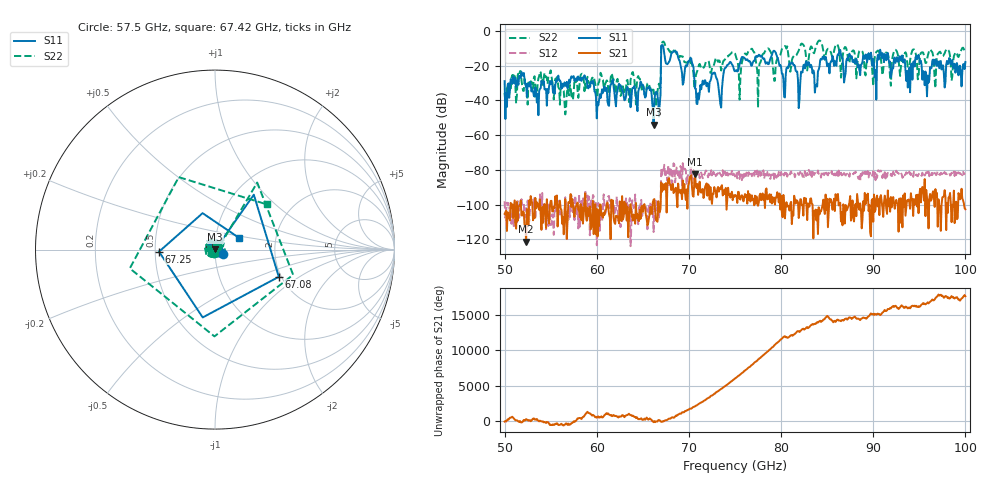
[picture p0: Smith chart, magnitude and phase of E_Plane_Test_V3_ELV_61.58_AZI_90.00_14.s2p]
! 11/26/2026 4:08:40 PM
! C:\ANRITSUVNA\TEMP\TEMP.S2P
! CHANNEL.1
! TR.MEASUREMENT
! RAW.DATA
# HZ S RI R 50.0
! FREQ.HZ  S11RE  S11IM  S21RE  S21IM  S12RE  S12IM  S22RE  S22IM
!; PortSelection: Port_12
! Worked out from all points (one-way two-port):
!   601 points, 50 GHz to 100 GHz, reference 50 ohm
!   highest |S21| = -82.70 dB at 70.67 GHz (marker M1); lowest = -121.4 dB at 52.33 GHz (marker M2)
!   lowest |S11| = -54.0 dB at 66.17 GHz (marker M3), VSWR 1.00, Z = 50.1 + j0.143 ohm
!   |S11| at or under -10 dB: start of sweep to 67 GHz; 67.24 GHz to end of sweep
!   |S22| runs from -48.2 to -5.6 dB; largest |S21 - S12| = 0.0002
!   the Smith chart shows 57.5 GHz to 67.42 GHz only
!   S11 on the Smith chart (normalised r, x): 57.5 GHz: 1.09, -0.05; 67.08 GHz: 1.94, -0.69; 67.25 GHz: 0.52, -0.01; 67.42 GHz: 1.29, +0.18
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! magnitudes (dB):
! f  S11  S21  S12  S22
! 50 GHz  -29.0  -105.4  -98.1  -35.8
! 52.33 GHz  -30.5  -121.4  -102.0  -32.4
! 57.5 GHz  -26.2  -104.4  -97.2  -34.7
! 58.42 GHz  -27.2  -101.6  -101.0  -24.7
! 60.17 GHz  -42.9  -103.3  -99.2  -30.4
! 66.17 GHz  -54.0  -97.2  -115.9  -34.0
! 66.67 GHz  -41.5  -98.1  -109.3  -31.7
! 67.08 GHz  -8.3  -92.7  -83.0  -6.8
! 67.25 GHz  -10.1  -91.5  -80.3  -6.3
! 67.42 GHz  -16.6  -91.3  -84.2  -8.3
! 70.17 GHz  -15.5  -84.0  -82.5  -18.6
! 70.67 GHz  -33.3  -82.7  -82.7  -33.2
! 73.42 GHz  -42.4  -91.2  -82.5  -19.7
! 75 GHz  -23.3  -94.5  -83.9  -13.0
! 79.25 GHz  -11.5  -96.1  -85.3  -28.8
! 80.25 GHz  -27.9  -94.5  -82.1  -9.3
! 83.42 GHz  -24.5  -99.9  -81.2  -10.8
! 91.67 GHz  -16.7  -101.0  -81.5  -15.2
! 93.75 GHz  -32.7  -97.7  -81.9  -21.4
! 94.83 GHz  -15.0  -94.4  -83.7  -27.9
! 95.83 GHz  -37.7  -96.1  -81.4  -16.5
! 100 GHz  -17.9  -102.8  -82.0  -12.6
